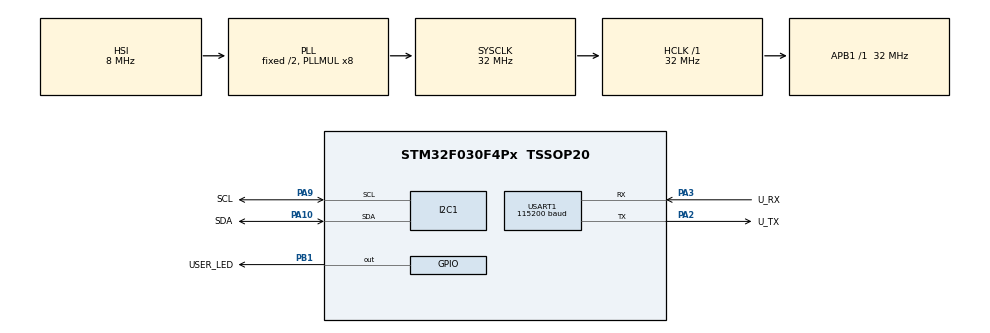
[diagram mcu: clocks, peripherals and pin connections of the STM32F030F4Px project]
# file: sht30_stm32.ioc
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Mcu.Family=STM32F0
Mcu.Name=STM32F030F4Px
Mcu.Package=TSSOP20
NVIC.I2C1_IRQn=true\:0\:0\:false\:false\:true\:true\:true\:true
PA10.GPIO_Label=SDA
PA10.GPIO_Pu=GPIO_PULLUP
PA10.Mode=I2C
PA10.Signal=I2C1_SDA
PA2.GPIO_Label=U_TX
PA2.Mode=Asynchronous
PA2.Signal=USART1_TX
PA3.GPIO_Label=U_RX
PA3.Mode=Asynchronous
PA3.Signal=USART1_RX
PA9.GPIO_Label=SCL
PA9.GPIO_Pu=GPIO_PULLUP
PA9.Mode=I2C
PA9.Signal=I2C1_SCL
PB1.GPIO_Label=USER_LED
PB1.Signal=GPIO_Output
ProjectManager.HeapSize=0x200
ProjectManager.StackSize=0x400
ProjectManager.TargetToolchain=STM32CubeIDE
RCC.AHBFreq_Value=32000000
RCC.APB1Freq_Value=32000000
RCC.APB1TimFreq_Value=32000000
RCC.HCLKFreq_Value=32000000
RCC.PLLMUL=RCC_PLL_MUL8
RCC.SYSCLKFreq_VALUE=32000000
RCC.SYSCLKSource=RCC_SYSCLKSOURCE_PLLCLK
USART1.BaudRate=115200
USART1.VirtualMode-Asynchronous=VM_ASYNC
board=custom

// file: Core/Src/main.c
/* USER CODE BEGIN Header */
/**
 ******************************************************************************
 * @file           : main.c
 * @brief          : Main program body
 ******************************************************************************
 * @attention
 *
 * Copyright (c) 2022 STMicroelectronics.
 * All rights reserved.
 *
 * This software is licensed under terms that can be found in the LICENSE file
 * in the root directory of this software component.
 * If no LICENSE file comes with this software, it is provided AS-IS.
 *
 ******************************************************************************
 * Copyright (c) 2022 Muchirijohn
 * License: MIT
 ******************************************************************************
 */
/* USER CODE END Header */
#include "main.h"
#include "i2c.h"
#include "usart.h"
#include "gpio.h"

/* USER CODE BEGIN Includes */
#include <stdio.h>
#include <stdlib.h>
#include <string.h>
/* USER CODE END Includes */

/* USER CODE BEGIN PV */
uint8_t address;
uint8_t cTemp;
uint8_t fTemp;
uint8_t humidity;
/* USER CODE END PV */

void SystemClock_Config(void);
/* USER CODE BEGIN PFP */
void uart_puts(char ch);
void uart_print(char *ch);
uint8_t sht30x_get();
void print_SHT30_values();
/* USER CODE END PFP */

int main(void) {

	/* MCU Configuration--------------------------------------------------------*/

	/* Reset of all peripherals, Initializes the Flash interface and the Systick. */
	HAL_Init();

	/* Configure the system clock */
	SystemClock_Config();

	/* Initialize all configured peripherals */
	MX_GPIO_Init();
	MX_I2C1_Init();
	MX_USART1_UART_Init();
	/* USER CODE BEGIN 2 */
	uart_print("SHT30 Sensor Demo\n");
	//set sht30 address
	address = 0x44 << 1;
	/* USER CODE END 2 */

	/* Infinite loop */
	/* USER CODE BEGIN WHILE */
	while (1) {
		//print sht30 temperature and humidity to uart
		print_SHT30_values();
		//toggle led pin
		HAL_GPIO_TogglePin(USER_LED_GPIO_Port, USER_LED_Pin);
		//delay 500ms
		HAL_Delay(500);
		/* USER CODE END WHILE */

	}
}

void SystemClock_Config(void) {
	RCC_OscInitTypeDef RCC_OscInitStruct = { 0 };
	RCC_ClkInitTypeDef RCC_ClkInitStruct = { 0 };
	RCC_PeriphCLKInitTypeDef PeriphClkInit = { 0 };

	/** Initializes the RCC Oscillators according to the specified parameters
	 * in the RCC_OscInitTypeDef structure.
	 */
	RCC_OscInitStruct.OscillatorType = RCC_OSCILLATORTYPE_HSI;
	RCC_OscInitStruct.HSIState = RCC_HSI_ON;
	RCC_OscInitStruct.HSICalibrationValue = RCC_HSICALIBRATION_DEFAULT;
	RCC_OscInitStruct.PLL.PLLState = RCC_PLL_ON;
	RCC_OscInitStruct.PLL.PLLSource = RCC_PLLSOURCE_HSI;
	RCC_OscInitStruct.PLL.PLLMUL = RCC_PLL_MUL8;
	RCC_OscInitStruct.PLL.PREDIV = RCC_PREDIV_DIV1;
	if (HAL_RCC_OscConfig(&RCC_OscInitStruct) != HAL_OK) {
		Error_Handler();
	}

	/** Initializes the CPU, AHB and APB buses clocks
	 */
	RCC_ClkInitStruct.ClockType = RCC_CLOCKTYPE_HCLK | RCC_CLOCKTYPE_SYSCLK
			| RCC_CLOCKTYPE_PCLK1;
	RCC_ClkInitStruct.SYSCLKSource = RCC_SYSCLKSOURCE_PLLCLK;
	RCC_ClkInitStruct.AHBCLKDivider = RCC_SYSCLK_DIV1;
	RCC_ClkInitStruct.APB1CLKDivider = RCC_HCLK_DIV1;

	if (HAL_RCC_ClockConfig(&RCC_ClkInitStruct, FLASH_LATENCY_1) != HAL_OK) {
		Error_Handler();
	}
	PeriphClkInit.PeriphClockSelection = RCC_PERIPHCLK_USART1
			| RCC_PERIPHCLK_I2C1;
	PeriphClkInit.Usart1ClockSelection = RCC_USART1CLKSOURCE_PCLK1;
	PeriphClkInit.I2c1ClockSelection = RCC_I2C1CLKSOURCE_HSI;
	if (HAL_RCCEx_PeriphCLKConfig(&PeriphClkInit) != HAL_OK) {
		Error_Handler();
	}
}

/* USER CODE BEGIN 4 */

/*
 * print a char
 */
void uart_puts(char ch) {
	HAL_UART_Transmit(&huart1, (uint8_t*) &ch, 1, 100);
}

/*
 * print string/several characters
 */
void uart_print(char *ch) {
	while (*ch) {
		uart_puts(*ch++);
	}
}

/**
 * get sensor values
 */
uint8_t sht30x_get() {
	uint8_t data[6] = { 0 };
	uint8_t config[2] = { 0 };
	uint8_t state = 0;

	int temp = 0;

	//check if sht30 is ready
	state = HAL_I2C_IsDeviceReady(&hi2c1, address, 2, 2000);

	if (state != HAL_OK) {
		//uart_print("SHT30 DEVICE NOT READY\n");
		return 0;
	}
	//commands to send to sht30 sensor via i2c
	config[0] = 0x2c;
	config[1] = 0x06;
	//send config data
	state = HAL_I2C_Master_Transmit(&hi2c1, address, &config[0], 2, 1500);
	//if transmit failed return
	if (state != HAL_OK) {
		//uart_print("SHT30 DEVICE TRANSMIT ERROR\n");
		return 0;
	}
	//delay 5ms
	HAL_Delay(5);
	//receive bytes
	state = HAL_I2C_Master_Receive(&hi2c1, address, &data[0], 6, 1500);
	//if receive data failed return
	if (state != HAL_OK) {
		//uart_print("SHT30 DEVICE RECEIVE ERROR\n");
		return 0;
	}
	//delay 50ms
	HAL_Delay(50);

	temp = (data[0] * 256 + data[1]);
	cTemp = (uint8_t) (-45 + (float) (175.0 * (temp / 65535.0)));
	fTemp = (uint8_t) (-49 + (float) (315.0 * (temp / 65535.0)));
	humidity = (uint8_t) (100 * (float) ((data[3] * 256 + data[4]) / 65535.0));

	return 1;
}

/**
 * print sensor values
 */
void print_SHT30_values() {
	char buffer[4] = { 0 };
	uint8_t state = 0;
	//read sensor
	state = sht30x_get();
	//show error message if reading failed
	if (state == 0) {
		uart_print("Failed to Read.\n");
		return;
	}
	//print the reading
	itoa(cTemp, buffer, 10);
	uart_print("SHT30 >> C: ");
	uart_print(buffer);
	memset(buffer, 0, 4);
	//humidity
	itoa(humidity, buffer, 10);
	uart_print(", H: ");
	uart_print(buffer);
	uart_puts('\n');
}
/* USER CODE END 4 */

void Error_Handler(void) {
	__disable_irq();
	while (1) {
	}
}
